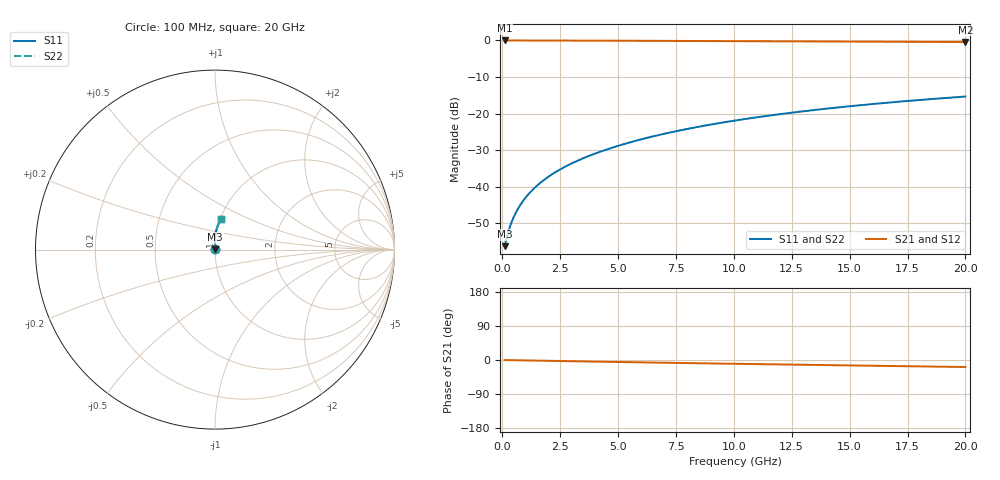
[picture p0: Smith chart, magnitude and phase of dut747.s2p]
! Touchstone file exported from HFSS 2024.1.0
!  File:  C:/UserFiles/LocalFiles/RDL_TSV_Batchsim/temp_RDL_top_747_1779851659.aedt
!  Generated:  11:16:34 AM May 27, 2026
!  Design:  RDL_top
!  Project:  temp_RDL_top_747_1779851659
!  Setup:  Setup1
!  Solution:  Sweep
! Variables:
!  dtsv = 10.80580581um
!  hbump = 3um
!  htsv = 94.87um
!  ldown = 100um
!  lrdl = 256.51um
!  p = 40
!  p1 = 45.79um
!  rhole = 1um
!  t = 450um
!  tdown = 3.915915916um
!  trdl = 3.33um
!  wdown = 15.38538539um
!  wrdl = 25.39um
# GHz S MA R 50.000000
! Terminal data exported
! Port[1] = Box2_T1
! Port[2] = Box2_T2
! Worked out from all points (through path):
!   200 points, 100 MHz to 20 GHz, reference 50 ohm
!   highest |S21| = -0.01 dB at 100 MHz (marker M1); lowest = -0.4 dB at 20 GHz (marker M2)
!   group delay of S21, straight-line fit = 2.54 ps
!   lowest |S11| = -56.2 dB at 100 MHz (marker M3), VSWR 1.00, Z = 50.1 + j0.0793 ohm
!   |S11| at or under -10 dB: start of sweep to end of sweep
!   |S22| runs from -56.2 to -15.3 dB; largest |S21 - S12| = 8.1e-15
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0.1  0.001546 30.8  0.9987 -0.1  0.9987 -0.1  0.001546 30.8
! Gamma 0 0 0 0
! Port Impedance 50 0 50 0
0.2  0.002081 47.8  0.9986 -0.2  0.9986 -0.2  0.002081 47.8
0.3  0.002684 56.8  0.9985 -0.3  0.9985 -0.3  0.002684 56.8
0.4  0.003296 62.4  0.9984 -0.5  0.9984 -0.5  0.003296 62.4
0.5  0.003911 66.5  0.9983 -0.6  0.9983 -0.6  0.003911 66.5
0.6  0.004531 69.6  0.9982 -0.7  0.9982 -0.7  0.004531 69.6
0.8  0.00579 74.1  0.9981 -0.9  0.9981 -0.9  0.00579 74.1
1  0.007077 77.3  0.9979 -1.1  0.9979 -1.1  0.007077 77.3
1.2  0.008385 79.6  0.9977 -1.3  0.9977 -1.3  0.008385 79.6
1.4  0.009713 81.4  0.9975 -1.5  0.9975 -1.5  0.009713 81.4
1.7  0.01174 83.4  0.9972 -1.9  0.9972 -1.9  0.01174 83.4
2.2  0.01519 85.8  0.9965 -2.4  0.9965 -2.4  0.01519 85.8
2.8  0.01945 87.7  0.9955 -3.0  0.9955 -3.0  0.01945 87.7
3.5  0.0246 89.2  0.994 -3.8  0.994 -3.8  0.0246 89.2
4.2  0.02994 90.1  0.9924 -4.5  0.9924 -4.5  0.02994 90.1
5  0.03628 90.8  0.9904 -5.3  0.9904 -5.3  0.03628 90.8
6.8  0.05135 91.0  0.9854 -7.0  0.9854 -7.0  0.05135 91.0
8.4  0.06545 90.3  0.9807 -8.5  0.9807 -8.5  0.06546 90.4
10.1  0.08089 89.1  0.9759 -10.1  0.9759 -10.1  0.0809 89.1
13.4  0.1113 86.0  0.967 -13.0  0.967 -13.0  0.1114 86.0
16.7  0.1416 82.5  0.9587 -15.8  0.9587 -15.8  0.1416 82.5
20  0.1712 79.1  0.9505 -18.5  0.9505 -18.5  0.1712 79.1
